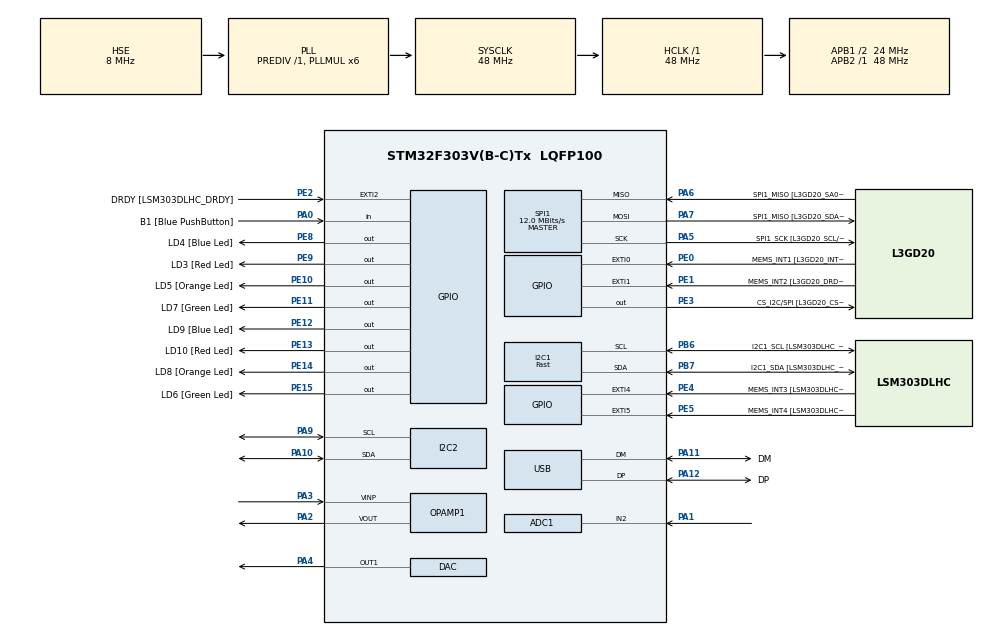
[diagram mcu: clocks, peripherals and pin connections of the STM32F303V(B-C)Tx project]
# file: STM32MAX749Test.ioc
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ADC1.Channel-0\#ChannelRegularConversion=ADC_CHANNEL_2
ADC1.NbrOfConversionFlag=1
ADC1.Offset-0\#ChannelRegularConversion=0
ADC1.OffsetNumber-0\#ChannelRegularConversion=ADC_OFFSET_NONE
ADC1.Rank-0\#ChannelRegularConversion=1
ADC1.SamplingTime-0\#ChannelRegularConversion=ADC_SAMPLETIME_1CYCLE_5
ADC1.SamplingTimeOPAMP-0\#ChannelRegularConversion=ADC_SAMPLETIME_19CYCLES_5
ADC1.master=1
I2C1.I2C_Fall_Time=100
I2C1.I2C_Rise_Time=100
I2C1.I2C_Speed_Mode=I2C_Fast
I2C1.Timing=0x0010020A
I2C1.Timing-I2C=0x2000090E
I2C2.Timing=0x00201D2B
Mcu.Family=STM32F3
Mcu.Name=STM32F303V(B-C)Tx
Mcu.Package=LQFP100
NVIC.PriorityGroup=NVIC_PRIORITYGROUP_0
NVIC.USB_LP_CAN_RX0_IRQn=true\:0\:0\:false\:false\:true\:false\:true\:true
PA0.GPIO_Label=B1 [Blue PushButton]
PA0.Signal=GPIO_Input
PA1.Mode=IN2-Single-Ended
PA1.Signal=ADC1_IN2
PA10.Mode=I2C
PA10.Signal=I2C2_SDA
PA11.GPIO_Label=DM
PA11.Mode=Device
PA11.Signal=USB_DM
PA12.GPIO_Label=DP
PA12.Mode=Device
PA12.Signal=USB_DP
PA13.GPIO_Label=SWDIO
PA13.Mode=Serial_Wire
PA13.Signal=SYS_JTMS-SWDIO
PA14.GPIO_Label=SWCLK
PA14.Mode=Serial_Wire
PA14.Signal=SYS_JTCK-SWCLK
PA2.Mode=Follower
PA2.Signal=OPAMP1_VOUT
PA3.Mode=Follower
PA3.Signal=OPAMP1_VINP
PA4.Signal=COMP_DAC1_group
PA5.GPIO_Label=SPI1_SCK [L3GD20_SCL/SPC]
PA5.Mode=Full_Duplex_Master
PA5.Signal=SPI1_SCK
PA6.GPIO_Label=SPI1_MISO [L3GD20_SA0/SDO]
PA6.Mode=Full_Duplex_Master
PA6.Signal=SPI1_MISO
PA7.GPIO_Label=SPI1_MISO [L3GD20_SDA/SDI/SDO]
PA7.Mode=Full_Duplex_Master
PA7.Signal=SPI1_MOSI
PA9.Mode=I2C
PA9.Signal=I2C2_SCL
PB3.GPIO_Label=SWO
PB3.Signal=SYS_JTDO-TRACESWO
PB6.GPIO_Label=I2C1_SCL [LSM303DLHC_SCL]
PB6.GPIO_Pu=GPIO_PULLUP
PB6.Mode=I2C
PB6.Signal=I2C1_SCL
PB7.GPIO_Label=I2C1_SDA [LSM303DLHC_SDA]
PB7.GPIO_Pu=GPIO_PULLUP
PB7.Mode=I2C
PB7.Signal=I2C1_SDA
PC14-OSC32_IN.GPIO_Label=OSC32_IN
PC14-OSC32_IN.Signal=RCC_OSC32_IN
PC15-OSC32_OUT.GPIO_Label=OSC32_OUT
PC15-OSC32_OUT.Signal=RCC_OSC32_OUT
PE0.GPIO_Label=MEMS_INT1 [L3GD20_INT1]
PE0.GPIO_ModeDefaultEXTI=GPIO_MODE_EVT_RISING
PE0.Signal=GPXTI0
PE1.GPIO_Label=MEMS_INT2 [L3GD20_DRDY/INT2]
PE1.GPIO_ModeDefaultEXTI=GPIO_MODE_EVT_RISING
PE1.Signal=GPXTI1
PE10.GPIO_Label=LD5 [Orange Led]
PE10.Signal=GPIO_Output
PE11.GPIO_Label=LD7 [Green Led]
PE11.Signal=GPIO_Output
PE12.GPIO_Label=LD9 [Blue Led]
PE12.Signal=GPIO_Output
PE13.GPIO_Label=LD10 [Red Led]
PE13.Signal=GPIO_Output
PE14.GPIO_Label=LD8 [Orange Led]
PE14.Signal=GPIO_Output
PE15.GPIO_Label=LD6 [Green Led]
PE15.Signal=GPIO_Output
PE2.GPIO_Label=DRDY [LSM303DLHC_DRDY]
PE2.GPIO_ModeDefaultEXTI=GPIO_MODE_EVT_RISING
PE2.Signal=GPXTI2
PE3.GPIO_Label=CS_I2C/SPI [L3GD20_CS_I2C/SPI]
PE3.Signal=GPIO_Output
PE4.GPIO_Label=MEMS_INT3 [LSM303DLHC_INT1]
PE4.GPIO_ModeDefaultEXTI=GPIO_MODE_EVT_RISING
PE4.Signal=GPXTI4
PE5.GPIO_Label=MEMS_INT4 [LSM303DLHC_INT2]
PE5.GPIO_ModeDefaultEXTI=GPIO_MODE_EVT_RISING
PE5.Signal=GPXTI5
PE8.GPIO_Label=LD4 [Blue Led]
PE8.Signal=GPIO_Output
PE9.GPIO_Label=LD3 [Red Led]
PE9.Signal=GPIO_Output
PF0-OSC_IN.GPIO_Label=OSC_IN
PF0-OSC_IN.Mode=HSE-External-Clock-Source
PF0-OSC_IN.Signal=RCC_OSC_IN
PF1-OSC_OUT.GPIO_Label=OSC_OUT
PF1-OSC_OUT.Signal=RCC_OSC_OUT
ProjectManager.HeapSize=0x200
ProjectManager.StackSize=0x400
ProjectManager.TargetToolchain=STM32CubeIDE
RCC.AHBFreq_Value=48000000
RCC.APB1CLKDivider=RCC_HCLK_DIV2
RCC.APB1Freq_Value=24000000
RCC.APB1TimFreq_Value=48000000
RCC.APB2Freq_Value=48000000
RCC.APB2TimFreq_Value=48000000
RCC.CortexFreq_Value=48000000
RCC.HCLKFreq_Value=48000000
RCC.HSE_VALUE=8000000
RCC.HSI_VALUE=8000000
RCC.LSE_VALUE=32768
RCC.PLLMUL=RCC_PLL_MUL6
RCC.SYSCLKFreq_VALUE=48000000
RCC.SYSCLKSourceVirtual=RCC_SYSCLKSOURCE_PLLCLK
RCC.USBFreq_Value=48000000
SH.COMP_DAC1_group.0=DAC_OUT1,DAC_OUT1
SPI1.BaudRatePrescaler=SPI_BAUDRATEPRESCALER_4
SPI1.BaudRatePrescaler-Full_Duplex_Master=SPI_BAUDRATEPRESCALER_2
SPI1.CalculateBaudRate=12.0 MBits/s
SPI1.CalculateBaudRate-Full_Duplex_Master=24.0 MBits/s
SPI1.Direction=SPI_DIRECTION_2LINES
SPI1.Mode=SPI_MODE_MASTER
SPI1.Mode-Full_Duplex_Master=SPI_MODE_MASTER
SPI1.VirtualType=VM_MASTER
USB_DEVICE.CLASS_NAME_FS=CDC
USB_DEVICE.VirtualMode=Cdc
USB_DEVICE.VirtualModeFS=Cdc_FS
VP_USB_DEVICE_VS_USB_DEVICE_CDC_FS.Mode=CDC_FS
board=STM32F3DISCOVERY

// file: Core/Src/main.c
/* USER CODE BEGIN Header */
/**
  ******************************************************************************
  * @file           : main.c
  * @brief          : Main program body
  ******************************************************************************
  * @attention
  *
  * Copyright (c) 2024 STMicroelectronics.
  * All rights reserved.
  *
  * This software is licensed under terms that can be found in the LICENSE file
  * in the root directory of this software component.
  * If no LICENSE file comes with this software, it is provided AS-IS.
  *
  ******************************************************************************
  */
/* USER CODE END Header */
#include "main.h"
#include "usb_device.h"

/* USER CODE BEGIN Includes */
#include "usbd_cdc_if.h"
#include "string.h"
#include "stdio.h"
#include "stts22h.h"
#include "stts22h_reg.h"
/* USER CODE END Includes */

/* USER CODE BEGIN PD */
#define USE_USB
#define NUCLEO_F401RE

#define NOMINAL_TEMPERATURE 25
#define TEMPERATURE_COEFICCIENT 0.034

// STTS22H
#if defined(NUCLEO_F401RE)
/* NUCLEO_F401RE: Define communication interface */
#define SENSOR_BUS hi2c2

#elif defined(SPC584B_DIS)
/* DISCOVERY_SPC584B: Define communication interface */
#define SENSOR_BUS I2CD1

#endif
/* USER CODE END PD */

ADC_HandleTypeDef hadc1;

DAC_HandleTypeDef hdac;

I2C_HandleTypeDef hi2c1;
I2C_HandleTypeDef hi2c2;

OPAMP_HandleTypeDef hopamp1;

SPI_HandleTypeDef hspi1;

/* USER CODE BEGIN PV */
uint8_t rxBuf[64];
uint32_t ADC_val = 0;
uint32_t DAC_val = 0;
float DAC_voltage = 0;
float measured_voltage = 0;
float voltage_setpoint = -40.7;
float nominal_voltage = -40.7;

// STTS22H
static int16_t data_raw_temperature;
static float_t temperature_degC;
static uint8_t whoamI;
static uint8_t tx_buffer[1000];
/* USER CODE END PV */

void SystemClock_Config(void);
static void MX_GPIO_Init(void);
static void MX_I2C1_Init(void);
static void MX_SPI1_Init(void);
static void MX_ADC1_Init(void);
static void MX_DAC_Init(void);
static void MX_OPAMP1_Init(void);
static void MX_I2C2_Init(void);
/* USER CODE BEGIN PFP */

// STTS22H
static int32_t platform_write(void *handle, uint8_t reg, const uint8_t *bufp,
                              uint16_t len);
static int32_t platform_read(void *handle, uint8_t reg, uint8_t *bufp,
                             uint16_t len);
static void tx_com( uint8_t *tx_buffer, uint16_t len );
static void platform_delay(uint32_t ms);
static void platform_init(void);

// Function to read ADC value from channel IN2 (PA1)
uint32_t Read_ADC_Value(void)
{
    HAL_ADC_Start(&hadc1);  // Start the ADC conversion

    // Wait for the conversion to complete
    if (HAL_ADC_PollForConversion(&hadc1, HAL_MAX_DELAY) == HAL_OK)
    {
        ADC_val = HAL_ADC_GetValue(&hadc1);  // Read the ADC converted value
    }

    HAL_ADC_Stop(&hadc1);  // Stop the ADC
    return ADC_val;      // Return the ADC value
}

void Set_DAC_Output(uint32_t value)
{
    if(value > 4095) value = 4095;
    else if(value < 0) value = 0;

	// Start the DAC if not already started
    HAL_DAC_Start(&hdac, DAC_CHANNEL_1);

    // Set the DAC value (assuming a 12-bit value)
    HAL_DAC_SetValue(&hdac, DAC_CHANNEL_1, DAC_ALIGN_12B_R, value);
}
/* USER CODE END PFP */

int main(void)
{

  /* MCU Configuration--------------------------------------------------------*/

  /* Reset of all peripherals, Initializes the Flash interface and the Systick. */
  HAL_Init();

  /* Configure the system clock */
  SystemClock_Config();

  /* Initialize all configured peripherals */
  MX_GPIO_Init();
  MX_I2C1_Init();
  MX_SPI1_Init();
  MX_ADC1_Init();
  MX_DAC_Init();
  MX_USB_DEVICE_Init();
  MX_OPAMP1_Init();
  MX_I2C2_Init();
  /* USER CODE BEGIN 2 */
  // Buffer for USB_COM
  char txBuf[64];

  /* Initialize mems driver interface */
  stmdev_ctx_t dev_ctx;
  dev_ctx.write_reg = platform_write;
  dev_ctx.read_reg = platform_read;
  dev_ctx.mdelay = platform_delay;
  dev_ctx.handle = &SENSOR_BUS;

  /* Init test platform */
  platform_init();

  /* Check device ID */
  stts22h_dev_id_get(&dev_ctx, &whoamI);

  while(1)
  {
	  stts22h_dev_id_get(&dev_ctx, &whoamI);
	  if (whoamI == STTS22H_ID) break;
  }
  /*
   * Set Output Data Rate
   * WARNING: this function can reset the device configuration.
   */
//  stts22h_temp_data_rate_set(&dev_ctx, STTS22H_1Hz);

  /* Enable interrupt on high(=49.5 degC)/low(=2.5 degC) temperature. */
  //float_t temperature_high_limit = 49.5f;
  //stts22h_temp_trshld_high_set(&dev_ctx, (int8_t)(temperature_high_limit / 0.64f) + 64 );

  //float_t temperature_low_limit = 2.5f;
  //stts22h_temp_trshld_low_set(&dev_ctx, (int8_t)(temperature_low_limit / 0.64f) + 64 );

  /* USER CODE END 2 */

  /* Infinite loop */
  while (1)
  {

    /* USER CODE BEGIN 3 */
	HAL_Delay(1000);
	uint8_t flag;
	stts22h_temp_flag_data_ready_get(&dev_ctx, &flag);

	if (flag)
	{
	  /* Read temperature data */
	  memset(&data_raw_temperature, 0, sizeof(int16_t));
	  stts22h_temperature_raw_get(&dev_ctx, &data_raw_temperature);
	  temperature_degC = stts22h_from_lsb_to_celsius(data_raw_temperature);
	  snprintf(tx_buffer, sizeof(tx_buffer), "Measured temperature: %0.3f C\r\n", temperature_degC);
	  CDC_Transmit_FS((uint8_t *) tx_buffer, strlen(tx_buffer));
	}

//	if(rxBuf[0] == 117) (DAC_val = DAC_val + 1);
//	else if(rxBuf[0] == 100) (DAC_val = DAC_val - 1);
	ADC_val = Read_ADC_Value();
	measured_voltage = ((float)ADC_val / 4095) * 3.3;
	voltage_setpoint = nominal_voltage - (temperature_degC - NOMINAL_TEMPERATURE)*TEMPERATURE_COEFICCIENT;

	if (measured_voltage < voltage_setpoint)
	{
		DAC_val++;
	}
	else
	{
		DAC_val--;
	}

	if(DAC_val > 4095) DAC_val = 4095;
	else if (DAC_val < 0) DAC_val = 0;

	DAC_voltage = ((float)DAC_val/4095)*3.3;

	Set_DAC_Output(DAC_val);
	HAL_GPIO_TogglePin(GPIOE, GPIO_PIN_8);
	snprintf(txBuf, sizeof(txBuf), "DAC: %0.3f V\t ADC value: %ld \t Measured voltage: %0.3f \r\n", DAC_voltage, ADC_val, measured_voltage);
	CDC_Transmit_FS((uint8_t *) txBuf, strlen(txBuf));
  }
  /* USER CODE END 3 */
}

void SystemClock_Config(void)
{
  RCC_OscInitTypeDef RCC_OscInitStruct = {0};
  RCC_ClkInitTypeDef RCC_ClkInitStruct = {0};
  RCC_PeriphCLKInitTypeDef PeriphClkInit = {0};

  /** Initializes the RCC Oscillators according to the specified parameters
  * in the RCC_OscInitTypeDef structure.
  */
  RCC_OscInitStruct.OscillatorType = RCC_OSCILLATORTYPE_HSI|RCC_OSCILLATORTYPE_HSE;
  RCC_OscInitStruct.HSEState = RCC_HSE_BYPASS;
  RCC_OscInitStruct.HSEPredivValue = RCC_HSE_PREDIV_DIV1;
  RCC_OscInitStruct.HSIState = RCC_HSI_ON;
  RCC_OscInitStruct.HSICalibrationValue = RCC_HSICALIBRATION_DEFAULT;
  RCC_OscInitStruct.PLL.PLLState = RCC_PLL_ON;
  RCC_OscInitStruct.PLL.PLLSource = RCC_PLLSOURCE_HSE;
  RCC_OscInitStruct.PLL.PLLMUL = RCC_PLL_MUL6;
  if (HAL_RCC_OscConfig(&RCC_OscInitStruct) != HAL_OK)
  {
    Error_Handler();
  }

  /** Initializes the CPU, AHB and APB buses clocks
  */
  RCC_ClkInitStruct.ClockType = RCC_CLOCKTYPE_HCLK|RCC_CLOCKTYPE_SYSCLK
                              |RCC_CLOCKTYPE_PCLK1|RCC_CLOCKTYPE_PCLK2;
  RCC_ClkInitStruct.SYSCLKSource = RCC_SYSCLKSOURCE_PLLCLK;
  RCC_ClkInitStruct.AHBCLKDivider = RCC_SYSCLK_DIV1;
  RCC_ClkInitStruct.APB1CLKDivider = RCC_HCLK_DIV2;
  RCC_ClkInitStruct.APB2CLKDivider = RCC_HCLK_DIV1;

  if (HAL_RCC_ClockConfig(&RCC_ClkInitStruct, FLASH_LATENCY_1) != HAL_OK)
  {
    Error_Handler();
  }
  PeriphClkInit.PeriphClockSelection = RCC_PERIPHCLK_USB|RCC_PERIPHCLK_I2C1
                              |RCC_PERIPHCLK_I2C2|RCC_PERIPHCLK_ADC12;
  PeriphClkInit.Adc12ClockSelection = RCC_ADC12PLLCLK_DIV1;
  PeriphClkInit.I2c1ClockSelection = RCC_I2C1CLKSOURCE_HSI;
  PeriphClkInit.I2c2ClockSelection = RCC_I2C2CLKSOURCE_HSI;
  PeriphClkInit.USBClockSelection = RCC_USBCLKSOURCE_PLL;
  if (HAL_RCCEx_PeriphCLKConfig(&PeriphClkInit) != HAL_OK)
  {
    Error_Handler();
  }
}

static void MX_ADC1_Init(void)
{

  ADC_MultiModeTypeDef multimode = {0};
  ADC_ChannelConfTypeDef sConfig = {0};

  /** Common config
  */
  hadc1.Instance = ADC1;
  hadc1.Init.ClockPrescaler = ADC_CLOCK_ASYNC_DIV1;
  hadc1.Init.Resolution = ADC_RESOLUTION_12B;
  hadc1.Init.ScanConvMode = ADC_SCAN_DISABLE;
  hadc1.Init.ContinuousConvMode = DISABLE;
  hadc1.Init.DiscontinuousConvMode = DISABLE;
  hadc1.Init.ExternalTrigConvEdge = ADC_EXTERNALTRIGCONVEDGE_NONE;
  hadc1.Init.ExternalTrigConv = ADC_SOFTWARE_START;
  hadc1.Init.DataAlign = ADC_DATAALIGN_RIGHT;
  hadc1.Init.NbrOfConversion = 1;
  hadc1.Init.DMAContinuousRequests = DISABLE;
  hadc1.Init.EOCSelection = ADC_EOC_SINGLE_CONV;
  hadc1.Init.LowPowerAutoWait = DISABLE;
  hadc1.Init.Overrun = ADC_OVR_DATA_OVERWRITTEN;
  if (HAL_ADC_Init(&hadc1) != HAL_OK)
  {
    Error_Handler();
  }

  /** Configure the ADC multi-mode
  */
  multimode.Mode = ADC_MODE_INDEPENDENT;
  if (HAL_ADCEx_MultiModeConfigChannel(&hadc1, &multimode) != HAL_OK)
  {
    Error_Handler();
  }

  /** Configure Regular Channel
  */
  sConfig.Channel = ADC_CHANNEL_2;
  sConfig.Rank = ADC_REGULAR_RANK_1;
  sConfig.SingleDiff = ADC_SINGLE_ENDED;
  sConfig.SamplingTime = ADC_SAMPLETIME_1CYCLE_5;
  sConfig.OffsetNumber = ADC_OFFSET_NONE;
  sConfig.Offset = 0;
  if (HAL_ADC_ConfigChannel(&hadc1, &sConfig) != HAL_OK)
  {
    Error_Handler();
  }

}

static void MX_DAC_Init(void)
{

  DAC_ChannelConfTypeDef sConfig = {0};

  /** DAC Initialization
  */
  hdac.Instance = DAC;
  if (HAL_DAC_Init(&hdac) != HAL_OK)
  {
    Error_Handler();
  }

  /** DAC channel OUT1 config
  */
  sConfig.DAC_Trigger = DAC_TRIGGER_NONE;
  sConfig.DAC_OutputBuffer = DAC_OUTPUTBUFFER_ENABLE;
  if (HAL_DAC_ConfigChannel(&hdac, &sConfig, DAC_CHANNEL_1) != HAL_OK)
  {
    Error_Handler();
  }

}

static void MX_I2C1_Init(void)
{

  hi2c1.Instance = I2C1;
  hi2c1.Init.Timing = 0x0010020A;
  hi2c1.Init.OwnAddress1 = 0;
  hi2c1.Init.AddressingMode = I2C_ADDRESSINGMODE_7BIT;
  hi2c1.Init.DualAddressMode = I2C_DUALADDRESS_DISABLE;
  hi2c1.Init.OwnAddress2 = 0;
  hi2c1.Init.OwnAddress2Masks = I2C_OA2_NOMASK;
  hi2c1.Init.GeneralCallMode = I2C_GENERALCALL_DISABLE;
  hi2c1.Init.NoStretchMode = I2C_NOSTRETCH_DISABLE;
  if (HAL_I2C_Init(&hi2c1) != HAL_OK)
  {
    Error_Handler();
  }

  /** Configure Analogue filter
  */
  if (HAL_I2CEx_ConfigAnalogFilter(&hi2c1, I2C_ANALOGFILTER_ENABLE) != HAL_OK)
  {
    Error_Handler();
  }

  /** Configure Digital filter
  */
  if (HAL_I2CEx_ConfigDigitalFilter(&hi2c1, 0) != HAL_OK)
  {
    Error_Handler();
  }

}

static void MX_I2C2_Init(void)
{

  hi2c2.Instance = I2C2;
  hi2c2.Init.Timing = 0x00201D2B;
  hi2c2.Init.OwnAddress1 = 0;
  hi2c2.Init.AddressingMode = I2C_ADDRESSINGMODE_7BIT;
  hi2c2.Init.DualAddressMode = I2C_DUALADDRESS_DISABLE;
  hi2c2.Init.OwnAddress2 = 0;
  hi2c2.Init.OwnAddress2Masks = I2C_OA2_NOMASK;
  hi2c2.Init.GeneralCallMode = I2C_GENERALCALL_DISABLE;
  hi2c2.Init.NoStretchMode = I2C_NOSTRETCH_DISABLE;
  if (HAL_I2C_Init(&hi2c2) != HAL_OK)
  {
    Error_Handler();
  }

  /** Configure Analogue filter
  */
  if (HAL_I2CEx_ConfigAnalogFilter(&hi2c2, I2C_ANALOGFILTER_ENABLE) != HAL_OK)
  {
    Error_Handler();
  }

  /** Configure Digital filter
  */
  if (HAL_I2CEx_ConfigDigitalFilter(&hi2c2, 0) != HAL_OK)
  {
    Error_Handler();
  }

}

static void MX_OPAMP1_Init(void)
{

  hopamp1.Instance = OPAMP1;
  hopamp1.Init.Mode = OPAMP_FOLLOWER_MODE;
  hopamp1.Init.NonInvertingInput = OPAMP_NONINVERTINGINPUT_IO2;
  hopamp1.Init.TimerControlledMuxmode = OPAMP_TIMERCONTROLLEDMUXMODE_DISABLE;
  hopamp1.Init.UserTrimming = OPAMP_TRIMMING_FACTORY;
  if (HAL_OPAMP_Init(&hopamp1) != HAL_OK)
  {
    Error_Handler();
  }

}

static void MX_SPI1_Init(void)
{

  /* SPI1 parameter configuration*/
  hspi1.Instance = SPI1;
  hspi1.Init.Mode = SPI_MODE_MASTER;
  hspi1.Init.Direction = SPI_DIRECTION_2LINES;
  hspi1.Init.DataSize = SPI_DATASIZE_4BIT;
  hspi1.Init.CLKPolarity = SPI_POLARITY_LOW;
  hspi1.Init.CLKPhase = SPI_PHASE_1EDGE;
  hspi1.Init.NSS = SPI_NSS_SOFT;
  hspi1.Init.BaudRatePrescaler = SPI_BAUDRATEPRESCALER_4;
  hspi1.Init.FirstBit = SPI_FIRSTBIT_MSB;
  hspi1.Init.TIMode = SPI_TIMODE_DISABLE;
  hspi1.Init.CRCCalculation = SPI_CRCCALCULATION_DISABLE;
  hspi1.Init.CRCPolynomial = 7;
  hspi1.Init.CRCLength = SPI_CRC_LENGTH_DATASIZE;
  hspi1.Init.NSSPMode = SPI_NSS_PULSE_ENABLE;
  if (HAL_SPI_Init(&hspi1) != HAL_OK)
  {
    Error_Handler();
  }

}

static void MX_GPIO_Init(void)
{
  GPIO_InitTypeDef GPIO_InitStruct = {0};

  /* GPIO Ports Clock Enable */
  __HAL_RCC_GPIOE_CLK_ENABLE();
  __HAL_RCC_GPIOC_CLK_ENABLE();
  __HAL_RCC_GPIOF_CLK_ENABLE();
  __HAL_RCC_GPIOA_CLK_ENABLE();
  __HAL_RCC_GPIOB_CLK_ENABLE();

  /*Configure GPIO pin Output Level */
  HAL_GPIO_WritePin(GPIOE, CS_I2C_SPI_Pin|LD4_Pin|LD3_Pin|LD5_Pin
                          |LD7_Pin|LD9_Pin|LD10_Pin|LD8_Pin
                          |LD6_Pin, GPIO_PIN_RESET);

  /*Configure GPIO pins : DRDY_Pin MEMS_INT3_Pin MEMS_INT4_Pin MEMS_INT1_Pin
                           MEMS_INT2_Pin */
  GPIO_InitStruct.Pin = DRDY_Pin|MEMS_INT3_Pin|MEMS_INT4_Pin|MEMS_INT1_Pin
                          |MEMS_INT2_Pin;
  GPIO_InitStruct.Mode = GPIO_MODE_EVT_RISING;
  GPIO_InitStruct.Pull = GPIO_NOPULL;
  HAL_GPIO_Init(GPIOE, &GPIO_InitStruct);

  /*Configure GPIO pins : CS_I2C_SPI_Pin LD4_Pin LD3_Pin LD5_Pin
                           LD7_Pin LD9_Pin LD10_Pin LD8_Pin
                           LD6_Pin */
  GPIO_InitStruct.Pin = CS_I2C_SPI_Pin|LD4_Pin|LD3_Pin|LD5_Pin
                          |LD7_Pin|LD9_Pin|LD10_Pin|LD8_Pin
                          |LD6_Pin;
  GPIO_InitStruct.Mode = GPIO_MODE_OUTPUT_PP;
  GPIO_InitStruct.Pull = GPIO_NOPULL;
  GPIO_InitStruct.Speed = GPIO_SPEED_FREQ_LOW;
  HAL_GPIO_Init(GPIOE, &GPIO_InitStruct);

  /*Configure GPIO pin : B1_Pin */
  GPIO_InitStruct.Pin = B1_Pin;
  GPIO_InitStruct.Mode = GPIO_MODE_INPUT;
  GPIO_InitStruct.Pull = GPIO_NOPULL;
  HAL_GPIO_Init(B1_GPIO_Port, &GPIO_InitStruct);

}

/* USER CODE BEGIN 4 */
/*
 * @brief  Write generic device register (platform dependent)
 *
 * @param  handle    customizable argument. In this examples is used in
 *                   order to select the correct sensor bus handler.
 * @param  reg       register to write
 * @param  bufp      pointer to data to write in register reg
 * @param  len       number of consecutive register to write
 *
 */
static int32_t platform_write(void *handle, uint8_t reg, const uint8_t *bufp,
                              uint16_t len)
{
#if defined(NUCLEO_F401RE)
  HAL_I2C_Mem_Write(handle, STTS22H_I2C_ADD_L, reg,
                    I2C_MEMADD_SIZE_8BIT, (uint8_t*) bufp, len, 1000);
#elif defined(SPC584B_DIS)
  i2c_lld_write(handle,  STTS22H_I2C_ADD_L & 0xFE, reg, (uint8_t*) bufp, len);
#endif
  return 0;
}

/*
 * @brief  Read generic device register (platform dependent)
 *
 * @param  handle    customizable argument. In this examples is used in
 *                   order to select the correct sensor bus handler.
 * @param  reg       register to read
 * @param  bufp      pointer to buffer that store the data read
 * @param  len       number of consecutive register to read
 *
 */
static int32_t platform_read(void *handle, uint8_t reg, uint8_t *bufp,
                             uint16_t len)
{
#if defined(NUCLEO_F401RE)
  HAL_I2C_Mem_Read(handle, STTS22H_I2C_ADD_L, reg,
                   I2C_MEMADD_SIZE_8BIT, bufp, len, 1000);
#elif defined(SPC584B_DIS)
  i2c_lld_read(handle, STTS22H_I2C_ADD_L & 0xFE, reg, bufp, len);
#endif
  return 0;
}

/*
 * @brief  platform specific delay (platform dependent)
 *
 * @param  ms        delay in ms
 *
 */
static void platform_delay(uint32_t ms)
{
#if defined(NUCLEO_F401RE)
  HAL_Delay(ms);
#elif defined(SPC584B_DIS)
  osalThreadDelayMilliseconds(ms);
#endif
}

/*
 * @brief  platform specific initialization (platform dependent)
 */
static void platform_init(void)
{
#if defined(STEVAL_MKI109V3)
  TIM3->CCR1 = PWM_3V3;
  TIM3->CCR2 = PWM_3V3;
  HAL_TIM_PWM_Start(&htim3, TIM_CHANNEL_1);
  HAL_TIM_PWM_Start(&htim3, TIM_CHANNEL_2);
  HAL_Delay(1000);
#endif
}
/* USER CODE END 4 */

void Error_Handler(void)
{
  __disable_irq();
  while (1)
  {
  }
}
